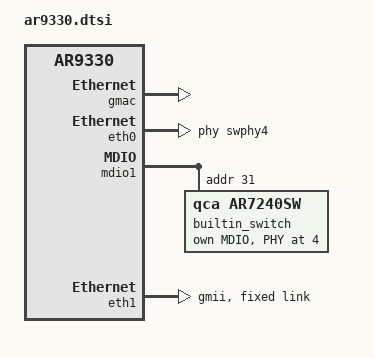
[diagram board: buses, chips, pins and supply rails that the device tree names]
// SPDX-License-Identifier: GPL-2.0-or-later OR MIT
#include <dt-bindings/clock/ath79-clk.h>
#include "ath79.dtsi"

/ {
	compatible = "qca,ar9330";

	#address-cells = <1>;
	#size-cells = <1>;

	cpus {
		#address-cells = <1>;
		#size-cells = <0>;

		cpu@0 {
			device_type = "cpu";
			compatible = "mips,mips24Kc";
			clocks = <&pll ATH79_CLK_CPU>;
			reg = <0>;
		};
	};

	chosen {
		bootargs = "console=ttyATH0,115200";
	};

	ahb {
		apb {
			ddr_ctrl: memory-controller@18000000 {
				compatible = "qca,ar7240-ddr-controller";
				reg = <0x18000000 0x100>;

				#qca,ddr-wb-channel-cells = <1>;
			};

			uart: uart@18020000 {
				compatible = "qca,ar9330-uart";
				reg = <0x18020000 0x14>;

				interrupts = <3>;

				clocks = <&pll ATH79_CLK_REF>;
				clock-names = "uart";

				status = "disabled";
			};

			gpio: gpio@18040000 {
				compatible = "qca,ar7100-gpio";
				reg = <0x18040000 0x34>;
				interrupts = <2>;

				ngpios = <30>;

				gpio-controller;
				#gpio-cells = <2>;

				interrupt-controller;
				#interrupt-cells = <2>;

				status = "disabled";
			};

			pinmux: pinmux@18040028 {
				compatible = "pinctrl-single";
				reg = <0x18040028 0x8>;

				pinctrl-single,bit-per-mux;
				pinctrl-single,register-width = <32>;
				pinctrl-single,function-mask = <0x1>;
				#pinctrl-cells = <2>;

				jtag_disable_pins: pinmux_jtag_disable_pins {
					pinctrl-single,bits = <0x0 0x1 0x1>;
				};

				switch_led_disable_pins: pinmux_switch_led_disable_pins {
					pinctrl-single,bits = <0x0 0x0 0xf8>;
				};
			};

			pll: pll-controller@18050000 {
				compatible = "qca,ar9330-pll";
				reg = <0x18050000 0x100>;

				#clock-cells = <1>;
			};

			wdt: wdt@18060008 {
				compatible = "qca,ar7130-wdt";
				reg = <0x18060008 0x8>;

				interrupts = <4>;

				clocks = <&pll ATH79_CLK_AHB>;
				clock-names = "wdt";
			};

			rst: reset-controller@1806001c {
				compatible = "qca,ar7100-reset";
				reg = <0x1806001c 0x4>;

				#reset-cells = <1>;
			};
		};

		usb: usb@1b000000 {
			compatible = "chipidea,usb2";
			reg = <0x1b000000 0x200>;

			interrupts = <3>;
			resets = <&rst 5>;
			reset-names = "usb-host";

			phy-names = "usb-phy";
			phys = <&usb_phy>;

			status = "disabled";
		};

		spi: spi@1f000000 {
			compatible = "qca,ar7100-spi";
			reg = <0x1f000000 0x10>;

			clocks = <&pll ATH79_CLK_AHB>;
			clock-names = "ahb";

			#address-cells = <1>;
			#size-cells = <0>;

			status = "disabled";
		};

		gmac: gmac@18070000 {
			compatible = "qca,ar9330-gmac";
			reg = <0x18070000 0x4>;
		};

		wmac: wmac@18100000 {
			compatible = "qca,ar9330-wmac";
			reg = <0x18100000 0x20000>;

			interrupts = <2>;

			status = "disabled";
		};
	};

	usb_phy: usb-phy {
		compatible = "qca,ar7200-usb-phy";

		reset-names = "usb-phy", "usb-suspend-override";
		resets = <&rst 4>, <&rst 3>;

		#phy-cells = <0>;

		status = "disabled";
	};
};

&cpuintc {
	qca,ddr-wb-channel-interrupts = <2>, <3>;
	qca,ddr-wb-channels = <&ddr_ctrl 3>, <&ddr_ctrl 2>;
};

&eth0 {
	compatible = "qca,ar9330-eth", "syscon";

	pll-data = <0x00110000 0x00001099 0x00991099>;

	resets = <&rst 9>;
	reset-names = "mac";
	phy-handle = <&swphy4>;
};

&mdio1 {
	status = "okay";
	compatible = "qca,ar9330-mdio";

	resets = <&rst 23>;
	reset-names = "mdio";
	builtin-switch;

	builtin_switch: switch0@1f {
		compatible = "qca,ar7240sw";
		reg = <0x1f>;
		resets = <&rst 8>;
		reset-names = "switch";
		qca,mib-poll-interval = <500>;

		mdio-bus {
			#address-cells = <1>;
			#size-cells = <0>;

			swphy4: ethernet-phy@4 {
				reg = <4>;
				phy-mode = "mii";
			};
		};
	};
};

&eth1 {
	compatible = "qca,ar9330-eth", "syscon";

	pll-data = <0x00110000 0x00001099 0x00991099>;
	phy-mode = "gmii";

	resets = <&rst 13>;
	reset-names = "mac";

	fixed-link {
		speed = <1000>;
		full-duplex;
	};
};
